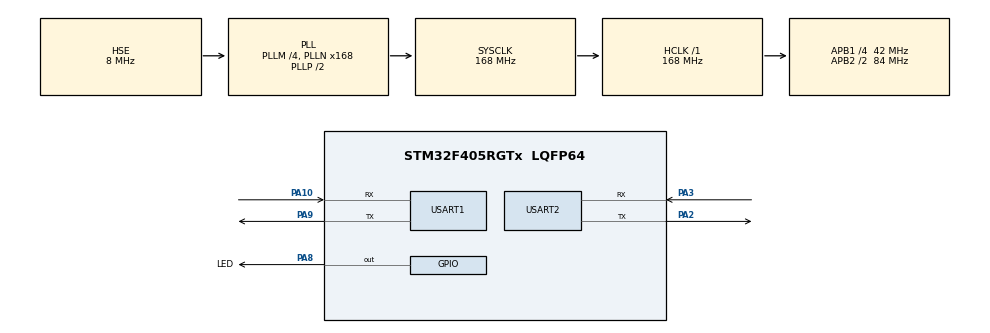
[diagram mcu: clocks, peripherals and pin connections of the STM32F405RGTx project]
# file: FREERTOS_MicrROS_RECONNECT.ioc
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Dma.Request0=USART1_RX
Dma.Request1=USART1_TX
Dma.USART1_RX.0.Direction=DMA_PERIPH_TO_MEMORY
Dma.USART1_RX.0.FIFOMode=DMA_FIFOMODE_DISABLE
Dma.USART1_RX.0.Instance=DMA2_Stream2
Dma.USART1_RX.0.MemDataAlignment=DMA_MDATAALIGN_BYTE
Dma.USART1_RX.0.MemInc=DMA_MINC_ENABLE
Dma.USART1_RX.0.Mode=DMA_CIRCULAR
Dma.USART1_RX.0.PeriphDataAlignment=DMA_PDATAALIGN_BYTE
Dma.USART1_RX.0.PeriphInc=DMA_PINC_DISABLE
Dma.USART1_RX.0.Priority=DMA_PRIORITY_VERY_HIGH
Dma.USART1_TX.1.Direction=DMA_MEMORY_TO_PERIPH
Dma.USART1_TX.1.FIFOMode=DMA_FIFOMODE_DISABLE
Dma.USART1_TX.1.Instance=DMA2_Stream7
Dma.USART1_TX.1.MemDataAlignment=DMA_MDATAALIGN_BYTE
Dma.USART1_TX.1.MemInc=DMA_MINC_ENABLE
Dma.USART1_TX.1.Mode=DMA_NORMAL
Dma.USART1_TX.1.PeriphDataAlignment=DMA_PDATAALIGN_BYTE
Dma.USART1_TX.1.PeriphInc=DMA_PINC_DISABLE
Dma.USART1_TX.1.Priority=DMA_PRIORITY_VERY_HIGH
FREERTOS.Tasks01=defaultTask,24,3000,StartDefaultTask,Default,NULL,Dynamic,NULL,NULL
Mcu.Family=STM32F4
Mcu.Name=STM32F405RGTx
Mcu.Package=LQFP64
NVIC.DMA2_Stream2_IRQn=true\:5\:0\:false\:false\:true\:true\:false\:true\:true
NVIC.DMA2_Stream7_IRQn=true\:5\:0\:false\:false\:true\:true\:false\:true\:true
NVIC.PriorityGroup=NVIC_PRIORITYGROUP_4
NVIC.TIM4_IRQn=true\:5\:0\:true\:false\:true\:false\:false\:true\:true
NVIC.TimeBase=TIM4_IRQn
NVIC.TimeBaseIP=TIM4
NVIC.USART1_IRQn=true\:10\:0\:true\:false\:true\:true\:true\:true\:true
NVIC.USART2_IRQn=true\:10\:0\:true\:false\:true\:true\:true\:true\:true
PA10.Mode=Asynchronous
PA10.Signal=USART1_RX
PA13.Mode=Serial_Wire
PA13.Signal=SYS_JTMS-SWDIO
PA14.Mode=Serial_Wire
PA14.Signal=SYS_JTCK-SWCLK
PA2.Mode=Asynchronous
PA2.Signal=USART2_TX
PA3.Mode=Asynchronous
PA3.Signal=USART2_RX
PA8.GPIO_Label=LED
PA8.GPIO_ModeDefaultOutputPP=GPIO_MODE_OUTPUT_PP
PA8.GPIO_PuPd=GPIO_NOPULL
PA8.PinState=GPIO_PIN_SET
PA8.Signal=GPIO_Output
PA9.Mode=Asynchronous
PA9.Signal=USART1_TX
PH0-OSC_IN.Mode=HSE-External-Oscillator
PH0-OSC_IN.Signal=RCC_OSC_IN
PH1-OSC_OUT.Mode=HSE-External-Oscillator
PH1-OSC_OUT.Signal=RCC_OSC_OUT
ProjectManager.HeapSize=0x200
ProjectManager.StackSize=0x400
ProjectManager.TargetToolchain=CMake
RCC.48MHZClocksFreq_Value=84000000
RCC.AHBFreq_Value=168000000
RCC.APB1CLKDivider=RCC_HCLK_DIV4
RCC.APB1Freq_Value=42000000
RCC.APB1TimFreq_Value=84000000
RCC.APB2CLKDivider=RCC_HCLK_DIV2
RCC.APB2Freq_Value=84000000
RCC.APB2TimFreq_Value=168000000
RCC.CortexFreq_Value=168000000
RCC.HCLKFreq_Value=168000000
RCC.HSE_VALUE=8000000
RCC.HSI_VALUE=16000000
RCC.LSE_VALUE=32768
RCC.PLLM=4
RCC.PLLN=168
RCC.PLLSourceVirtual=RCC_PLLSOURCE_HSE
RCC.SYSCLKFreq_VALUE=168000000
RCC.SYSCLKSource=RCC_SYSCLKSOURCE_PLLCLK
RCC.VCOOutputFreq_Value=336000000
USART1.VirtualMode=VM_ASYNC
USART2.VirtualMode=VM_ASYNC
VP_FREERTOS_VS_CMSIS_V2.Mode=CMSIS_V2
VP_SYS_VS_tim4.Mode=TIM4
board=custom

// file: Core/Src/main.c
/* USER CODE BEGIN Header */
/**
  ******************************************************************************
  * @file           : main.c
  * @brief          : Main program body
  ******************************************************************************
  * @attention
  *
  * Copyright (c) 2025 STMicroelectronics.
  * All rights reserved.
  *
  * This software is licensed under terms that can be found in the LICENSE file
  * in the root directory of this software component.
  * If no LICENSE file comes with this software, it is provided AS-IS.
  *
  ******************************************************************************
  */
/* USER CODE END Header */
#include "main.h"
#include "cmsis_os.h"
#include "dma.h"
#include "usart.h"
#include "gpio.h"

void SystemClock_Config(void);
void MX_FREERTOS_Init(void);

int main(void)
{

  /* MCU Configuration--------------------------------------------------------*/

  /* Reset of all peripherals, Initializes the Flash interface and the Systick. */
  HAL_Init();

  /* Configure the system clock */
  SystemClock_Config();

  /* Initialize all configured peripherals */
  MX_GPIO_Init();
  MX_DMA_Init();
  MX_USART1_UART_Init();
  MX_USART2_UART_Init();

  /* Init scheduler */
  osKernelInitialize();

  /* Call init function for freertos objects (in cmsis_os2.c) */
  MX_FREERTOS_Init();

  /* Start scheduler */
  osKernelStart();

  /* We should never get here as control is now taken by the scheduler */

  /* Infinite loop */
  while (1)
  {

  }
}

void SystemClock_Config(void)
{
  RCC_OscInitTypeDef RCC_OscInitStruct = {0};
  RCC_ClkInitTypeDef RCC_ClkInitStruct = {0};

  /** Configure the main internal regulator output voltage
  */
  __HAL_RCC_PWR_CLK_ENABLE();
  __HAL_PWR_VOLTAGESCALING_CONFIG(PWR_REGULATOR_VOLTAGE_SCALE1);

  /** Initializes the RCC Oscillators according to the specified parameters
  * in the RCC_OscInitTypeDef structure.
  */
  RCC_OscInitStruct.OscillatorType = RCC_OSCILLATORTYPE_HSE;
  RCC_OscInitStruct.HSEState = RCC_HSE_ON;
  RCC_OscInitStruct.PLL.PLLState = RCC_PLL_ON;
  RCC_OscInitStruct.PLL.PLLSource = RCC_PLLSOURCE_HSE;
  RCC_OscInitStruct.PLL.PLLM = 4;
  RCC_OscInitStruct.PLL.PLLN = 168;
  RCC_OscInitStruct.PLL.PLLP = RCC_PLLP_DIV2;
  RCC_OscInitStruct.PLL.PLLQ = 4;
  if (HAL_RCC_OscConfig(&RCC_OscInitStruct) != HAL_OK)
  {
    Error_Handler();
  }

  /** Initializes the CPU, AHB and APB buses clocks
  */
  RCC_ClkInitStruct.ClockType = RCC_CLOCKTYPE_HCLK|RCC_CLOCKTYPE_SYSCLK
                              |RCC_CLOCKTYPE_PCLK1|RCC_CLOCKTYPE_PCLK2;
  RCC_ClkInitStruct.SYSCLKSource = RCC_SYSCLKSOURCE_PLLCLK;
  RCC_ClkInitStruct.AHBCLKDivider = RCC_SYSCLK_DIV1;
  RCC_ClkInitStruct.APB1CLKDivider = RCC_HCLK_DIV4;
  RCC_ClkInitStruct.APB2CLKDivider = RCC_HCLK_DIV2;

  if (HAL_RCC_ClockConfig(&RCC_ClkInitStruct, FLASH_LATENCY_5) != HAL_OK)
  {
    Error_Handler();
  }
}

void HAL_TIM_PeriodElapsedCallback(TIM_HandleTypeDef *htim)
{
  if (htim->Instance == TIM4)
  {
    HAL_IncTick();
  }
}

void Error_Handler(void)
{
  __disable_irq();
  while (1)
  {
  }
}

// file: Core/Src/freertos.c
/* USER CODE BEGIN Header */
/**
  ******************************************************************************
  * File Name          : freertos.c
  * Description        : Code for freertos applications
  ******************************************************************************
  * @attention
  *
  * Copyright (c) 2025 STMicroelectronics.
  * All rights reserved.
  *
  * This software is licensed under terms that can be found in the LICENSE file
  * in the root directory of this software component.
  * If no LICENSE file comes with this software, it is provided AS-IS.
  *
  ******************************************************************************
  */
/* USER CODE END Header */

#include "FreeRTOS.h"
#include "task.h"
// #include "main.h"
#include "cmsis_os.h"

/* USER CODE BEGIN Includes */
#include "app.h"
/* USER CODE END Includes */

/* Definitions for defaultTask */
osThreadId_t defaultTaskHandle;
const osThreadAttr_t defaultTask_attributes = {
  .name = "defaultTask",
  .stack_size = 3000 * 4,
  .priority = (osPriority_t) osPriorityNormal,
};

/* USER CODE BEGIN FunctionPrototypes */
bool cubemx_transport_open(struct uxrCustomTransport * transport);
bool cubemx_transport_close(struct uxrCustomTransport * transport);
size_t cubemx_transport_write(struct uxrCustomTransport* transport, const uint8_t * buf, size_t len, uint8_t * err);
size_t cubemx_transport_read(struct uxrCustomTransport* transport, uint8_t* buf, size_t len, int timeout, uint8_t* err);

void * microros_allocate(size_t size, void * state);
void microros_deallocate(void * pointer, void * state);
void * microros_reallocate(void * pointer, size_t size, void * state);
void * microros_zero_allocate(size_t number_of_elements, size_t size_of_element, void * state);
/* USER CODE END FunctionPrototypes */

void StartDefaultTask(void *argument);

void MX_FREERTOS_Init(void); /* (MISRA C 2004 rule 8.1) */

void MX_FREERTOS_Init(void) {

  /* Create the thread(s) */
  /* creation of defaultTask */
  defaultTaskHandle = osThreadNew(StartDefaultTask, NULL, &defaultTask_attributes);

}

void StartDefaultTask(void *argument)
{
  /* USER CODE BEGIN StartDefaultTask */
  app_init();

  rmw_uros_set_custom_transport(
      true,
      (void *) &huart1,
      cubemx_transport_open,
      cubemx_transport_close,
      cubemx_transport_write,
      cubemx_transport_read);

  rcl_allocator_t freeRTOS_allocator = rcutils_get_zero_initialized_allocator();
  freeRTOS_allocator.allocate = microros_allocate;
  freeRTOS_allocator.deallocate = microros_deallocate;
  freeRTOS_allocator.reallocate = microros_reallocate;
  freeRTOS_allocator.zero_allocate =  microros_zero_allocate;

  if (!rcutils_set_default_allocator(&freeRTOS_allocator)) {
      printf("Error on default allocators (line %d)\n", __LINE__);
  }
  xTaskCreate(&keep_connect, "keep_connect", 1024, NULL, 1, NULL);
  /* Infinite loop */
  for(;;)
  {
    osDelay(1);
  }
  /* USER CODE END StartDefaultTask */
}
